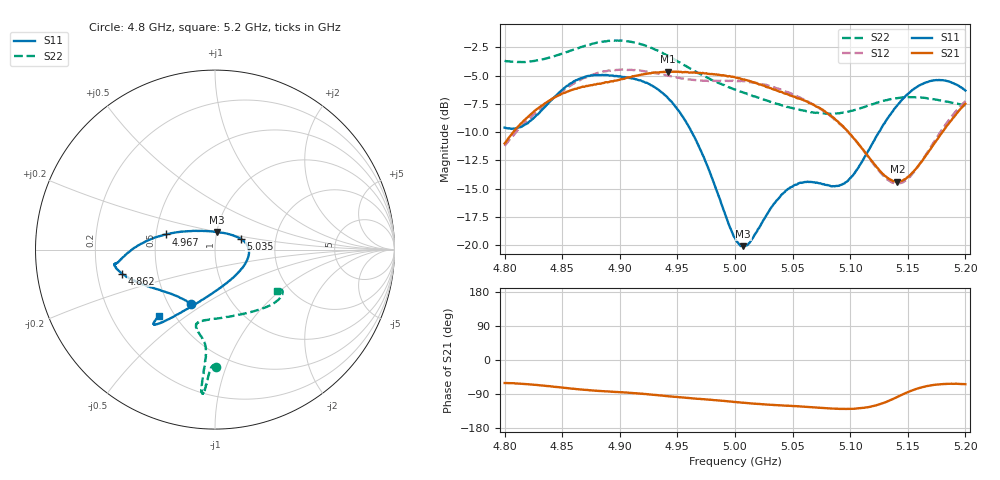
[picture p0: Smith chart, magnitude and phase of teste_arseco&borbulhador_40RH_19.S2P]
! Network Analyzer HP8722D
! Hewlett-Packard
! Data name: Linha & Wilkinson
! Saver's name: Rodrigo Anjos
! Comments: Teste da utilização de aquisição
! continua pelo VNA HP8722D
! Time and date: 15/4/2025 16:30
!  Frequency  S11  S21  S12  S22
# HZ  S  MA R 50
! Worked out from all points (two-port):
!   401 points, 4.8 GHz to 5.2 GHz, reference 50 ohm
!   highest |S21| = -4.65 dB at 4.942 GHz (marker M1); lowest = -14.4 dB at 5.141 GHz (marker M2)
!   |S21| within 3 dB of the highest: 4.832 GHz to 5.069 GHz (237 MHz wide, 4.79 % of centre); 5.198443 GHz to end of sweep
!   lowest |S11| = -20.1 dB at 5.007 GHz (marker M3), VSWR 1.22, Z = 50.1 + j9.95 ohm
!   |S11| at or under -10 dB: 4.962 GHz to 5.125 GHz (162.5 MHz wide, 3.22 % of centre)
!   |S22| runs from -8.4 to -1.9 dB; largest |S21 - S12| = 0.88
!   S11 on the Smith chart (normalised r, x): 4.8 GHz: 0.65, -0.44; 4.862 GHz: 0.31, -0.11; 4.967 GHz: 0.57, +0.10; 5.035 GHz: 1.32, +0.16; 5.2 GHz: 0.41, -0.40
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4.8e9  0.3311 -113.7  0.2816 -60.7  0.2747 -175.1  0.6544 -89.6
4.819e9  0.3443 -133.5  0.3647 -63.8  0.3522 -173.3  0.6485 -91.1
4.862e9  0.5364 -165.6  0.4918 -76.7  0.5264 -176.4  0.7392 -93.5
4.867e9  0.5491 -167.6  0.5006 -78.1  0.5429 -177.4  0.7537 -93.6
4.9e9  0.558 -172.1  0.5393 -84.9  0.5976 175.9  0.8033 -95.0
4.934e9  0.4852 -178.0  0.5807 -93.4  0.5741 172.0  0.7205 -95.5
4.942e9  0.4464 178.5  0.5855 -95.6  0.5625 171.9  0.6872 -95.4
4.967e9  0.285 162.7  0.5788 -102.0  0.5366 174.0  0.5812 -94.8
5e9  0.1073 107.4  0.5527 -110.8  0.5339 176.4  0.4878 -99.2
5.007e9  0.09887 83.7  0.5401 -112.6  0.5308 176.5  0.4734 -100.9
5.013e9  0.1028 64.7  0.5308 -114.4  0.5251 176.1  0.4617 -102.2
5.035e9  0.1546 23.1  0.4875 -119.0  0.4969 175.2  0.424 -103.9
5.05e9  0.1818 7.2  0.4557 -121.6  0.4654 174.5  0.4038 -100.2
5.067e9  0.19 -11.2  0.4207 -124.7  0.4213 173.9  0.3872 -92.0
5.085e9  0.1824 -39.6  0.3675 -128.1  0.3657 173.6  0.3824 -78.5
5.097e9  0.1906 -64.7  0.3223 -129.1  0.3215 174.6  0.3879 -68.5
5.134e9  0.3733 -116.0  0.196 -107.0  0.1925 -159.7  0.4412 -43.4
5.141e9  0.4161 -119.9  0.1906 -97.2  0.1871 -148.9  0.4476 -40.2
5.153e9  0.4808 -124.8  0.2064 -81.2  0.2038 -130.2  0.4514 -35.9
5.17e9  0.5329 -128.4  0.2669 -66.9  0.2717 -113.0  0.4443 -32.0
5.184e9  0.5321 -129.8  0.3379 -63.0  0.3486 -107.1  0.4317 -31.1
5.2e9  0.4829 -130.3  0.422 -64.0  0.4341 -106.0  0.4154 -33.4
